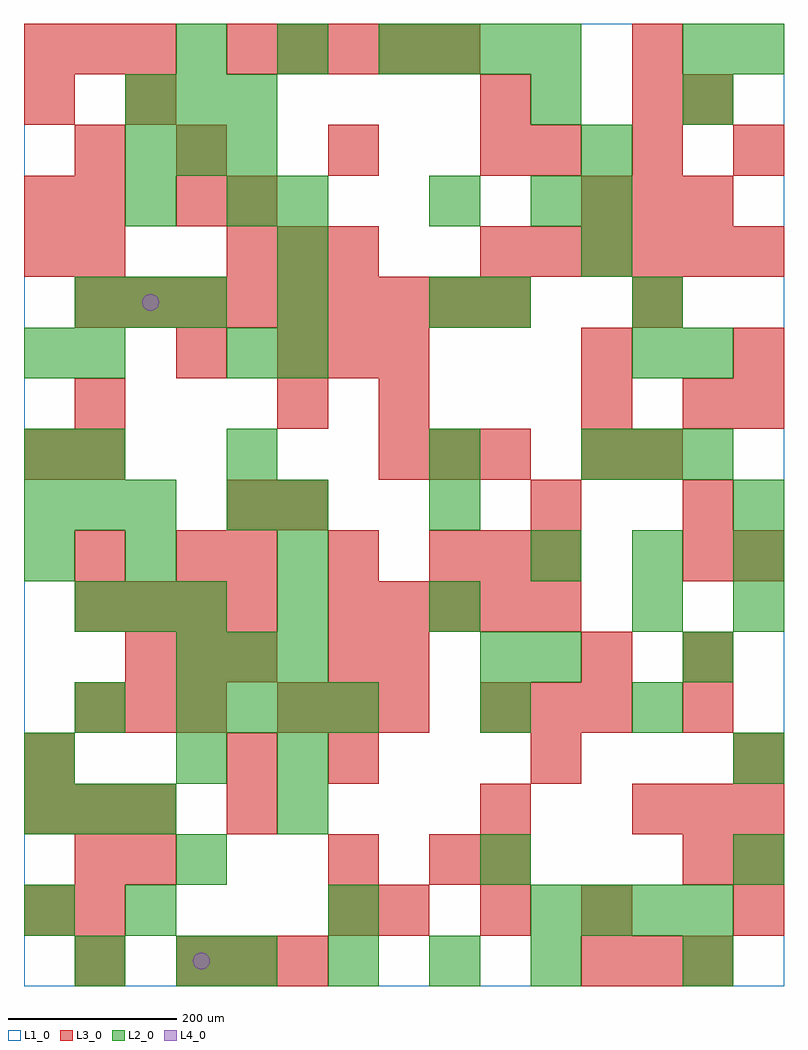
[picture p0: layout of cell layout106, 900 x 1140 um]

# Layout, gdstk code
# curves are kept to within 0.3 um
import gdstk
lib = gdstk.Library(unit=1e-6, precision=1e-09)
def R(c, l, rs):  # rectangles x0, y0, x1, y1
    for r in rs: c.add(gdstk.rectangle(r[:2], r[2:], *l))
def A(c, l, x, y, w, h, nx, ny, dx, dy):  # array of equal rectangles
    R(c, l, [(x+i*dx, y+j*dy, x+i*dx+w, y+j*dy+h) for i in range(nx) for j in range(ny)])
def P(c, l, *ps):  # polygons
    for p in ps: c.add(gdstk.Polygon(p, *l))
L1_0 = (1, 0)
L2_0 = (2, 0)
L3_0 = (3, 0)
L4_0 = (4, 0)

layout106 = lib.new_cell('layout106')
R(layout106, L1_0, [(0,0,900,1140)])
A(layout106, L2_0, 60, 0, 60, 60, 1, 3, 0, 300)
A(layout106, L2_0, 180, 0, 60, 60, 1, 3, 0, 120)
A(layout106, L2_0, 240, 0, 60, 60, 4, 1, 120, 0)
A(layout106, L2_0, 780, 0, 60, 60, 1, 3, 0, 360)
A(layout106, L2_0, 120, 60, 60, 60, 3, 1, 240, 0)
A(layout106, L2_0, 660, 60, 60, 60, 3, 2, 60, 540)
A(layout106, L2_0, 0, 180, 60, 60, 3, 2, 60, 360)
A(layout106, L2_0, 180, 300, 60, 60, 4, 1, 60, 0)
A(layout106, L2_0, 180, 360, 60, 60, 3, 1, 60, 0)
A(layout106, L2_0, 60, 420, 60, 60, 3, 2, 60, 360)
A(layout106, L2_0, 300, 420, 60, 60, 1, 3, 0, 60)
A(layout106, L2_0, 0, 480, 60, 60, 1, 3, 0, 120)
A(layout106, L2_0, 600, 480, 60, 60, 3, 1, 120, 0)
A(layout106, L2_0, 300, 720, 60, 60, 1, 4, 0, 60)
A(layout106, L2_0, 660, 840, 60, 60, 1, 3, 0, 60)
A(layout106, L2_0, 120, 960, 60, 60, 3, 2, 60, 60)
A(layout106, L2_0, 180, 1080, 60, 60, 3, 1, 120, 0)
A(layout106, L2_0, 480, 1080, 60, 60, 3, 1, 60, 0)
R(layout106, L2_0, [(0,60,60,120), (540,120,600,180), (840,120,900,180), (300,180,360,240), (0,240,60,300), (300,240,360,300), (840,240,900,300), (540,300,600,360), (720,300,780,360), (540,360,600,420), (600,360,660,420), (480,420,540,480), (720,420,780,480), (840,420,900,480), (120,480,180,540), (240,540,300,600), (480,540,540,600), (840,540,900,600), (240,600,300,660), (480,600,540,660), (60,720,120,780), (240,720,300,780), (720,720,780,780), (480,780,540,840), (540,780,600,840), (720,780,780,840), (120,900,180,960), (240,900,300,960), (480,900,540,960), (600,900,660,960), (600,1020,660,1080), (780,1020,840,1080), (780,1080,840,1140), (840,1080,900,1140)])
A(layout106, L3_0, 60, 0, 60, 60, 1, 3, 0, 60)
A(layout106, L3_0, 180, 0, 60, 60, 3, 1, 60, 0)
A(layout106, L3_0, 660, 0, 60, 60, 3, 2, 60, 900)
A(layout106, L3_0, 420, 60, 60, 60, 3, 1, 120, 0)
A(layout106, L3_0, 0, 180, 60, 60, 3, 2, 60, 900)
A(layout106, L3_0, 720, 180, 60, 60, 3, 1, 60, 0)
A(layout106, L3_0, 360, 240, 60, 60, 3, 1, 240, 0)
A(layout106, L3_0, 60, 300, 60, 60, 3, 1, 60, 0)
A(layout106, L3_0, 300, 300, 60, 60, 3, 2, 60, 420)
A(layout106, L3_0, 540, 300, 60, 60, 3, 1, 60, 0)
A(layout106, L3_0, 120, 360, 60, 60, 3, 1, 60, 0)
A(layout106, L3_0, 60, 420, 60, 60, 4, 1, 60, 0)
A(layout106, L3_0, 360, 420, 60, 60, 5, 1, 60, 0)
A(layout106, L3_0, 240, 480, 60, 60, 3, 1, 120, 0)
A(layout106, L3_0, 420, 600, 60, 60, 3, 1, 60, 0)
A(layout106, L3_0, 660, 600, 60, 60, 1, 3, 0, 60)
A(layout106, L3_0, 60, 780, 60, 60, 9, 1, 60, 0)
A(layout106, L3_0, 60, 840, 60, 60, 1, 3, 0, 60)
A(layout106, L3_0, 240, 840, 60, 60, 3, 1, 60, 0)
A(layout106, L3_0, 540, 840, 60, 60, 6, 1, 60, 0)
A(layout106, L3_0, 180, 960, 60, 60, 3, 1, 180, 0)
A(layout106, L3_0, 600, 960, 60, 60, 3, 1, 120, 0)
A(layout106, L3_0, 240, 1080, 60, 60, 5, 1, 60, 0)
R(layout106, L3_0, [(0,60,60,120), (360,60,420,120), (840,60,900,120), (120,120,180,180), (360,120,420,180), (480,120,540,180), (540,120,600,180), (780,120,840,180), (840,120,900,180), (240,180,300,240), (540,180,600,240), (0,240,60,300), (240,240,300,300), (780,300,840,360), (360,360,420,420), (420,360,480,420), (660,360,720,420), (780,360,840,420), (60,480,120,540), (180,480,240,540), (540,480,600,540), (600,480,660,540), (780,480,840,540), (840,480,900,540), (240,540,300,600), (300,540,360,600), (600,540,660,600), (780,540,840,600), (0,600,60,660), (60,600,120,660), (720,600,780,660), (60,660,120,720), (300,660,360,720), (420,660,480,720), (780,660,840,720), (840,660,900,720), (180,720,240,780), (840,720,900,780), (720,780,780,840), (0,840,60,900), (0,900,60,960), (180,900,240,960), (240,900,300,960), (0,1020,60,1080), (120,1020,180,1080), (540,1020,600,1080), (720,1020,780,1080), (780,1020,840,1080), (720,1080,780,1140)])
P(layout106, L4_0, [(160,810),(159.239,813.827),(157.071,817.071),(153.827,819.239),(150,820),(146.173,819.239),(142.929,817.071),(140.761,813.827),(140,810),(140.761,806.173),(142.929,802.929),(146.173,800.761),(150,800),(153.827,800.761),(157.071,802.929),(159.239,806.173)],
  [(220,30),(219.239,33.827),(217.071,37.071),(213.827,39.239),(210,40),(206.173,39.239),(202.929,37.071),(200.761,33.827),(200,30),(200.761,26.173),(202.929,22.929),(206.173,20.761),(210,20),(213.827,20.761),(217.071,22.929),(219.239,26.173)])

lib.write_gds('layout106.gds')
